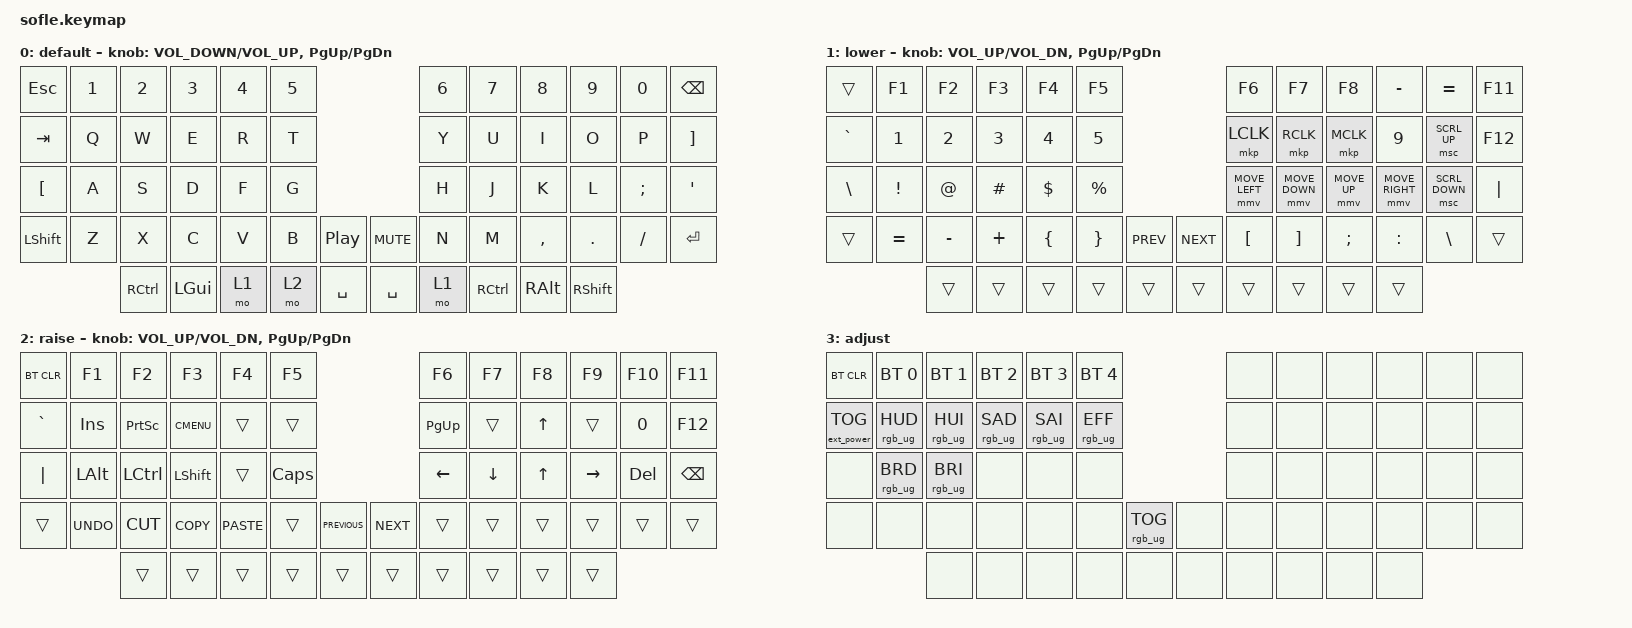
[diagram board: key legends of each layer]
/*
 * Copyright (c) 2020 The ZMK Contributors
 *
 * SPDX-License-Identifier: MIT
 */

#include <behaviors.dtsi>
#include <dt-bindings/zmk/bt.h>
#include <dt-bindings/zmk/ext_power.h>
#include <dt-bindings/zmk/keys.h>
#include <dt-bindings/zmk/pointing.h>
#include <dt-bindings/zmk/pointing.h>
#include <dt-bindings/zmk/pointing.h>
#include <dt-bindings/zmk/rgb.h>

#define BASE 0
#define LOWER 1
#define RAISE 2
#define ADJUST 3

/ {
    // Activate ADJUST layer by pressing raise and lower

    conditional_layers {
        compatible = "zmk,conditional-layers";

        adjust_layer {
            if-layers = <LOWER RAISE>;
            then-layer = <ADJUST>;
        };
    };

    combos {
        compatible = "zmk,combos";

        unlock_zmk {
            bindings = <&studio_unlock>;
            key-positions = <36 49>;
        };
    };

    keymap {
        compatible = "zmk,keymap";

        default_layer {
            display-name = "default";

            // ------------------------------------------------------------------------------------------------------------
            // |   `   |  1  |  2  |  3   |  4   |  5   |                   |  6   |  7    |  8    |  9   |   0   |       |
            // |  ESC  |  Q  |  W  |  E   |  R   |  T   |                   |  Y   |  U    |  I    |  O   |   P   | BKSPC |
            // |  TAB  |  A  |  S  |  D   |  F   |  G   |                   |  H   |  J    |  K    |  L   |   ;   |   '   |
            // | SHIFT |  Z  |  X  |  C   |  V   |  B   |  MUTE  |  |       |  N   |  M    |  ,    |  .   |   /   | SHIFT |
            //               | GUI | ALT  | CTRL | LOWER|  ENTER |  | SPACE | RAISE| CTRL  | ALT   | GUI  |

            bindings = <
&kp ESCAPE        &kp N1  &kp N2     &kp N3        &kp N4  &kp N5                                  &kp N6  &kp N7     &kp N8     &kp N9           &kp N0    &kp BACKSPACE
&kp TAB           &kp Q   &kp W      &kp E         &kp R   &kp T                                   &kp Y   &kp U      &kp I      &kp O            &kp P     &kp RIGHT_BRACKET
&kp LEFT_BRACKET  &kp A   &kp S      &kp D         &kp F   &kp G                                   &kp H   &kp J      &kp K      &kp L            &kp SEMI  &kp SQT
&kp LSHFT         &kp Z   &kp X      &kp C         &kp V   &kp B   &kp C_PLAY_PAUSE    &kp C_MUTE  &kp N   &kp M      &kp COMMA  &kp DOT          &kp FSLH  &kp ENTER
                          &kp RCTRL  &kp LEFT_GUI  &mo 1   &mo 2   &kp SPACE           &kp SPACE   &mo 1   &kp RCTRL  &kp RALT   &kp RIGHT_SHIFT
            >;

            sensor-bindings =
                <&inc_dec_kp C_VOLUME_DOWN C_VOLUME_UP>,
                <&inc_dec_kp PG_UP PG_DN>;
        };

        lower_layer {
            display-name = "lower";

            // TODO: Some binds are waiting for shifted keycode support.
            // ------------------------------------------------------------------------------------------------------------
            // |       |  F1 |  F2 |  F3  |  F4  |  F5  |                   |  F6  |  F7   |  F8   |  F9  |  F10  |  F11  |
            // |   `   |  1  |  2  |  3   |  4   |  5   |                   |  6   |  7    |  8    |  9   |   0   |  F12  |
            // |       |  !  |  @  |  #   |  $   |  %   |                   |  ^   |  &    |  *    |  (   |   )   |   |   |
            // |       |  =  |  -  |  +   |  {   |  }   |        |  |       |  [   |  ]    |  ;    |  :   |   \   |       |
            //               |     |      |      |      |        |  |       |      |       |       |      |

            bindings = <
&trans     &kp F1     &kp F2     &kp F3    &kp F4    &kp F5                               &kp F6          &kp F7          &kp F8        &kp MINUS        &kp EQUAL       &kp F11
&kp GRAVE  &kp N1     &kp N2     &kp N3    &kp N4    &kp N5                               &mkp LCLK       &mkp RCLK       &mkp MCLK     &kp N9           &msc SCRL_UP    &kp F12
&kp BSLH   &kp EXCL   &kp AT     &kp HASH  &kp DLLR  &kp PRCNT                            &mmv MOVE_LEFT  &mmv MOVE_DOWN  &mmv MOVE_UP  &mmv MOVE_RIGHT  &msc SCRL_DOWN  &kp PIPE
&trans     &kp EQUAL  &kp MINUS  &kp PLUS  &kp LBRC  &kp RBRC   &kp C_PREV    &kp C_NEXT  &kp LBKT        &kp RBKT        &kp SEMI      &kp COLON        &kp BSLH        &trans
                      &trans     &trans    &trans    &trans     &trans        &trans      &trans          &trans          &trans        &trans
            >;

            sensor-bindings = <&inc_dec_kp C_VOL_UP C_VOL_DN &inc_dec_kp PG_UP PG_DN>;
        };

        raise_layer {
            display-name = "raise";

            // ------------------------------------------------------------------------------------------------------------
            // | BTCLR | BT1  | BT2  |  BT3  |  BT4  |  BT5 |                |      |      |       |      |       |       |
            // |       | INS  | PSCR | GUI   |       |      |                | PGUP |      |   ^   |      |       |       |
            // |       | ALT  | CTRL | SHIFT |       | CAPS |                | PGDN |   <- |   v   |  ->  |  DEL  | BKSPC |
            // |       | UNDO | CUT  | COPY  | PASTE |      |      |  |      |      |      |       |      |       |       |
            //                |      |       |       |      |      |  |      |      |      |       |      |

            bindings = <
&bt BT_CLR  &kp F1      &kp F2     &kp F3       &kp F4       &kp F5                                  &kp F6     &kp F7    &kp F8  &kp F9     &kp F10  &kp F11
&kp GRAVE   &kp INS     &kp PSCRN  &kp K_CMENU  &trans       &trans                                  &kp PG_UP  &trans    &kp UP  &trans     &kp N0   &kp F12
&kp PIPE    &kp LALT    &kp LCTRL  &kp LSHFT    &trans       &kp CLCK                                &kp LEFT   &kp DOWN  &kp UP  &kp RIGHT  &kp DEL  &kp BSPC
&trans      &kp K_UNDO  &kp K_CUT  &kp K_COPY   &kp K_PASTE  &trans    &kp C_PREVIOUS    &kp C_NEXT  &trans     &trans    &trans  &trans     &trans   &trans
                        &trans     &trans       &trans       &trans    &trans            &trans      &trans     &trans    &trans  &trans
            >;

            sensor-bindings = <&inc_dec_kp C_VOL_UP C_VOL_DN &inc_dec_kp PG_UP PG_DN>;
        };

        adjust_layer {
            // ----------------------------------------------------------------------------------------------------------------------------
            // | BTCLR  |  BT1    |  BT2    |   BT3   |   BT4   |   BT5   |                  |      |      |       |      |       |       |
            // | EXTPWR | RGB_HUD | RGB_HUI | RGB_SAD | RGB_SAI | RGB_EFF |                  |      |      |       |      |       |       |
            // |        | RGB_BRD | RGB_BRI |         |         |         |                  |      |      |       |      |       |       |
            // |        |         |         |         |         |         | RGB_TOG | |      |      |      |       |      |       |       |
            //                    |         |         |         |         |         | |      |      |      |       |      |

            display-name = "adjust";
            bindings = <
&bt BT_CLR         &bt BT_SEL 0     &bt BT_SEL 1     &bt BT_SEL 2     &bt BT_SEL 3     &bt BT_SEL 4                               &none  &none  &none  &none  &none  &none
&ext_power EP_TOG  &rgb_ug RGB_HUD  &rgb_ug RGB_HUI  &rgb_ug RGB_SAD  &rgb_ug RGB_SAI  &rgb_ug RGB_EFF                            &none  &none  &none  &none  &none  &none
&none              &rgb_ug RGB_BRD  &rgb_ug RGB_BRI  &none            &none            &none                                      &none  &none  &none  &none  &none  &none
&none              &none            &none            &none            &none            &none            &rgb_ug RGB_TOG    &none  &none  &none  &none  &none  &none  &none
                                    &none            &none            &none            &none            &none              &none  &none  &none  &none  &none
            >;
        };
    };
};
